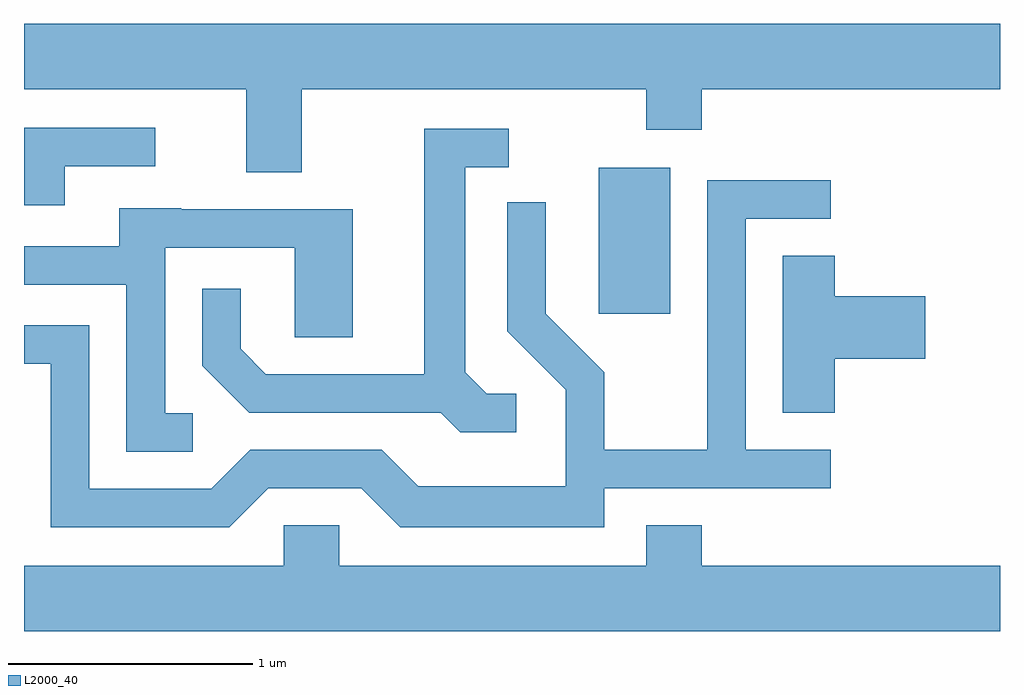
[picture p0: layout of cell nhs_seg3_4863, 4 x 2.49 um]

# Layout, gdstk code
import gdstk
lib = gdstk.Library(unit=1e-6, precision=1e-09)
def R(c, l, rs):  # rectangles x0, y0, x1, y1
    for r in rs: c.add(gdstk.rectangle(r[:2], r[2:], *l))
def P(c, l, *ps):  # polygons
    for p in ps: c.add(gdstk.Polygon(p, *l))
L2000_40 = (2000, 40)

nhs_seg3_4863 = lib.new_cell('nhs_seg3_4863')
R(nhs_seg3_4863, L2000_40, [(329.966,1191.696,330.259,1192.294)])
P(nhs_seg3_4863, L2000_40, [(328.749,1192.616),(330.161,1192.616),(330.161,1192.451),(330.389,1192.451),(330.389,1192.616),(331.611,1192.616),(331.611,1192.884),(327.611,1192.884),(327.611,1192.616),(328.521,1192.616),(328.521,1192.276),(328.749,1192.276)],
  [(327.779,1192.301),(328.148,1192.301),(328.148,1192.459),(327.611,1192.459),(327.611,1192.141),(327.779,1192.141)],
  [(329.628,1191.369),(329.507,1191.369),(329.419,1191.457),(329.419,1192.296),(329.598,1192.296),(329.598,1192.454),(329.251,1192.454),(329.251,1191.449),(328.602,1191.449),(328.499,1191.552),(328.499,1191.798),(328.341,1191.798),(328.341,1191.484),(328.534,1191.291),(329.319,1191.291),(329.399,1191.211),(329.628,1191.211)],
  [(328.612,1190.981),(328.994,1190.981),(329.154,1190.821),(329.989,1190.821),(329.989,1190.981),(330.918,1190.981),(330.918,1191.139),(330.569,1191.139),(330.569,1192.086),(330.918,1192.086),(330.918,1192.244),(330.411,1192.244),(330.411,1191.139),(329.989,1191.139),(329.989,1191.457),(329.749,1191.697),(329.749,1192.153),(329.591,1192.153),(329.591,1191.624),(329.831,1191.384),(329.831,1190.989),(329.227,1190.989),(329.077,1191.139),(328.539,1191.139),(328.379,1190.979),(327.879,1190.979),(327.879,1191.649),(327.611,1191.649),(327.611,1191.491),(327.721,1191.491),(327.721,1190.821),(328.452,1190.821)],
  [(328.303,1191.289),(328.189,1191.289),(328.189,1191.966),(328.721,1191.966),(328.721,1191.601),(328.959,1191.601),(328.959,1192.124),(328.255,1192.124),(328.255,1192.129),(328.001,1192.129),(328.001,1191.974),(327.611,1191.974),(327.611,1191.816),(328.031,1191.816),(328.031,1191.131),(328.303,1191.131)],
  [(330.934,1191.511),(331.304,1191.511),(331.304,1191.769),(330.934,1191.769),(330.934,1191.934),(330.721,1191.934),(330.721,1191.291),(330.934,1191.291)],
  [(331.611,1190.664),(330.389,1190.664),(330.389,1190.829),(330.161,1190.829),(330.161,1190.664),(328.904,1190.664),(328.904,1190.829),(328.676,1190.829),(328.676,1190.664),(327.611,1190.664),(327.611,1190.396),(331.611,1190.396)])

lib.write_gds('nhs_seg3_4863.gds')
